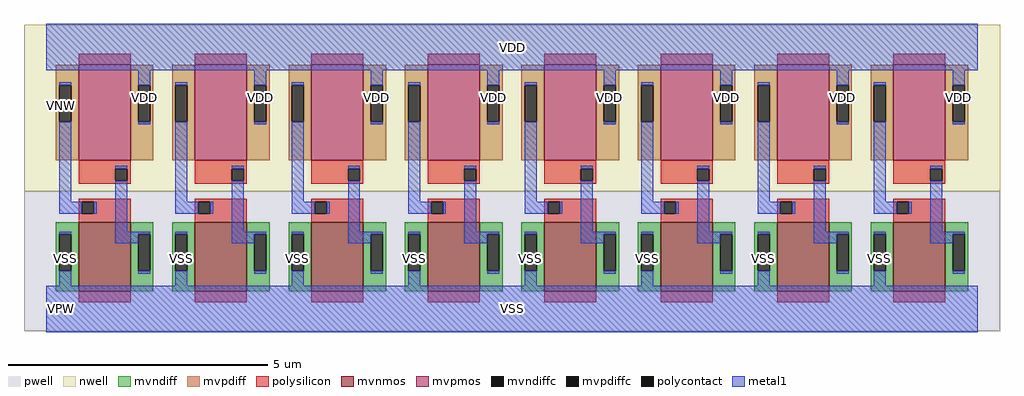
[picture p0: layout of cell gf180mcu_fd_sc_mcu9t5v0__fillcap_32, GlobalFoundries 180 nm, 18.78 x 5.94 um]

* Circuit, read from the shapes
.subckt gf180mcu_fd_sc_mcu9t5v0__fillcap_32 VDD VNW VPW VSS
XM1 n1 n2 VSS VPW nfet_06v0 w=1.32u l=1u
XM2 n3 n4 VSS VPW nfet_06v0 w=1.32u l=1u
XM3 n5 n6 VSS VPW nfet_06v0 w=1.32u l=1u
XM4 n7 n8 VSS VPW nfet_06v0 w=1.32u l=1u
XM5 n9 n10 VSS VPW nfet_06v0 w=1.32u l=1u
XM6 n11 n12 VSS VPW nfet_06v0 w=1.32u l=1u
XM7 n13 n14 VSS VPW nfet_06v0 w=1.32u l=1u
XM8 n15 n16 VSS VPW nfet_06v0 w=1.32u l=1u
XM9 VDD n1 n2 VNW pfet_06v0 w=1.83u l=1u
XM10 VDD n3 n4 VNW pfet_06v0 w=1.83u l=1u
XM11 VDD n5 n6 VNW pfet_06v0 w=1.83u l=1u
XM12 VDD n7 n8 VNW pfet_06v0 w=1.83u l=1u
XM13 VDD n9 n10 VNW pfet_06v0 w=1.83u l=1u
XM14 VDD n11 n12 VNW pfet_06v0 w=1.83u l=1u
XM15 VDD n13 n14 VNW pfet_06v0 w=1.83u l=1u
XM16 VDD n15 n16 VNW pfet_06v0 w=1.83u l=1u
.ends

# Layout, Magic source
magic
tech gf180mcuD
magscale 1 10
<< nwell >>
rect -86 453 3670 1094
<< pwell >>
rect -86 -86 3670 453
<< mvnmos >>
rect 124 69 324 333
rect 572 69 772 333
rect 1020 69 1220 333
rect 1468 69 1668 333
rect 1916 69 2116 333
rect 2364 69 2564 333
rect 2812 69 3012 333
rect 3260 69 3460 333
<< mvpmos >>
rect 124 573 324 939
rect 572 573 772 939
rect 1020 573 1220 939
rect 1468 573 1668 939
rect 1916 573 2116 939
rect 2364 573 2564 939
rect 2812 573 3012 939
rect 3260 573 3460 939
<< mvndiff >>
rect 36 287 124 333
rect 36 147 49 287
rect 95 147 124 287
rect 36 69 124 147
rect 324 287 412 333
rect 324 147 353 287
rect 399 147 412 287
rect 324 69 412 147
rect 484 287 572 333
rect 484 147 497 287
rect 543 147 572 287
rect 484 69 572 147
rect 772 287 860 333
rect 772 147 801 287
rect 847 147 860 287
rect 772 69 860 147
rect 932 287 1020 333
rect 932 147 945 287
rect 991 147 1020 287
rect 932 69 1020 147
rect 1220 287 1308 333
rect 1220 147 1249 287
rect 1295 147 1308 287
rect 1220 69 1308 147
rect 1380 287 1468 333
rect 1380 147 1393 287
rect 1439 147 1468 287
rect 1380 69 1468 147
rect 1668 287 1756 333
rect 1668 147 1697 287
rect 1743 147 1756 287
rect 1668 69 1756 147
rect 1828 287 1916 333
rect 1828 147 1841 287
rect 1887 147 1916 287
rect 1828 69 1916 147
rect 2116 287 2204 333
rect 2116 147 2145 287
rect 2191 147 2204 287
rect 2116 69 2204 147
rect 2276 287 2364 333
rect 2276 147 2289 287
rect 2335 147 2364 287
rect 2276 69 2364 147
rect 2564 287 2652 333
rect 2564 147 2593 287
rect 2639 147 2652 287
rect 2564 69 2652 147
rect 2724 287 2812 333
rect 2724 147 2737 287
rect 2783 147 2812 287
rect 2724 69 2812 147
rect 3012 287 3100 333
rect 3012 147 3041 287
rect 3087 147 3100 287
rect 3012 69 3100 147
rect 3172 287 3260 333
rect 3172 147 3185 287
rect 3231 147 3260 287
rect 3172 69 3260 147
rect 3460 287 3548 333
rect 3460 147 3489 287
rect 3535 147 3548 287
rect 3460 69 3548 147
<< mvpdiff >>
rect 36 861 124 939
rect 36 721 49 861
rect 95 721 124 861
rect 36 573 124 721
rect 324 861 412 939
rect 324 721 353 861
rect 399 721 412 861
rect 324 573 412 721
rect 484 861 572 939
rect 484 721 497 861
rect 543 721 572 861
rect 484 573 572 721
rect 772 861 860 939
rect 772 721 801 861
rect 847 721 860 861
rect 772 573 860 721
rect 932 861 1020 939
rect 932 721 945 861
rect 991 721 1020 861
rect 932 573 1020 721
rect 1220 861 1308 939
rect 1220 721 1249 861
rect 1295 721 1308 861
rect 1220 573 1308 721
rect 1380 861 1468 939
rect 1380 721 1393 861
rect 1439 721 1468 861
rect 1380 573 1468 721
rect 1668 861 1756 939
rect 1668 721 1697 861
rect 1743 721 1756 861
rect 1668 573 1756 721
rect 1828 861 1916 939
rect 1828 721 1841 861
rect 1887 721 1916 861
rect 1828 573 1916 721
rect 2116 861 2204 939
rect 2116 721 2145 861
rect 2191 721 2204 861
rect 2116 573 2204 721
rect 2276 861 2364 939
rect 2276 721 2289 861
rect 2335 721 2364 861
rect 2276 573 2364 721
rect 2564 861 2652 939
rect 2564 721 2593 861
rect 2639 721 2652 861
rect 2564 573 2652 721
rect 2724 861 2812 939
rect 2724 721 2737 861
rect 2783 721 2812 861
rect 2724 573 2812 721
rect 3012 861 3100 939
rect 3012 721 3041 861
rect 3087 721 3100 861
rect 3012 573 3100 721
rect 3172 861 3260 939
rect 3172 721 3185 861
rect 3231 721 3260 861
rect 3172 573 3260 721
rect 3460 861 3548 939
rect 3460 721 3489 861
rect 3535 721 3548 861
rect 3460 573 3548 721
<< mvndiffc >>
rect 49 147 95 287
rect 353 147 399 287
rect 497 147 543 287
rect 801 147 847 287
rect 945 147 991 287
rect 1249 147 1295 287
rect 1393 147 1439 287
rect 1697 147 1743 287
rect 1841 147 1887 287
rect 2145 147 2191 287
rect 2289 147 2335 287
rect 2593 147 2639 287
rect 2737 147 2783 287
rect 3041 147 3087 287
rect 3185 147 3231 287
rect 3489 147 3535 287
<< mvpdiffc >>
rect 49 721 95 861
rect 353 721 399 861
rect 497 721 543 861
rect 801 721 847 861
rect 945 721 991 861
rect 1249 721 1295 861
rect 1393 721 1439 861
rect 1697 721 1743 861
rect 1841 721 1887 861
rect 2145 721 2191 861
rect 2289 721 2335 861
rect 2593 721 2639 861
rect 2737 721 2783 861
rect 3041 721 3087 861
rect 3185 721 3231 861
rect 3489 721 3535 861
<< polysilicon >>
rect 124 939 324 983
rect 572 939 772 983
rect 1020 939 1220 983
rect 1468 939 1668 983
rect 1916 939 2116 983
rect 2364 939 2564 983
rect 2812 939 3012 983
rect 3260 939 3460 983
rect 124 540 324 573
rect 124 494 265 540
rect 311 494 324 540
rect 124 481 324 494
rect 572 540 772 573
rect 572 494 713 540
rect 759 494 772 540
rect 572 481 772 494
rect 1020 540 1220 573
rect 1020 494 1161 540
rect 1207 494 1220 540
rect 1020 481 1220 494
rect 1468 540 1668 573
rect 1468 494 1609 540
rect 1655 494 1668 540
rect 1468 481 1668 494
rect 1916 540 2116 573
rect 1916 494 2057 540
rect 2103 494 2116 540
rect 1916 481 2116 494
rect 2364 540 2564 573
rect 2364 494 2505 540
rect 2551 494 2564 540
rect 2364 481 2564 494
rect 2812 540 3012 573
rect 2812 494 2953 540
rect 2999 494 3012 540
rect 2812 481 3012 494
rect 3260 540 3460 573
rect 3260 494 3401 540
rect 3447 494 3460 540
rect 3260 481 3460 494
rect 124 412 324 425
rect 124 366 137 412
rect 183 366 324 412
rect 124 333 324 366
rect 572 412 772 425
rect 572 366 585 412
rect 631 366 772 412
rect 572 333 772 366
rect 1020 412 1220 425
rect 1020 366 1033 412
rect 1079 366 1220 412
rect 1020 333 1220 366
rect 1468 412 1668 425
rect 1468 366 1481 412
rect 1527 366 1668 412
rect 1468 333 1668 366
rect 1916 412 2116 425
rect 1916 366 1929 412
rect 1975 366 2116 412
rect 1916 333 2116 366
rect 2364 412 2564 425
rect 2364 366 2377 412
rect 2423 366 2564 412
rect 2364 333 2564 366
rect 2812 412 3012 425
rect 2812 366 2825 412
rect 2871 366 3012 412
rect 2812 333 3012 366
rect 3260 412 3460 425
rect 3260 366 3273 412
rect 3319 366 3460 412
rect 3260 333 3460 366
rect 124 25 324 69
rect 572 25 772 69
rect 1020 25 1220 69
rect 1468 25 1668 69
rect 1916 25 2116 69
rect 2364 25 2564 69
rect 2812 25 3012 69
rect 3260 25 3460 69
<< polycontact >>
rect 265 494 311 540
rect 713 494 759 540
rect 1161 494 1207 540
rect 1609 494 1655 540
rect 2057 494 2103 540
rect 2505 494 2551 540
rect 2953 494 2999 540
rect 3401 494 3447 540
rect 137 366 183 412
rect 585 366 631 412
rect 1033 366 1079 412
rect 1481 366 1527 412
rect 1929 366 1975 412
rect 2377 366 2423 412
rect 2825 366 2871 412
rect 3273 366 3319 412
<< metal1 >>
rect 0 918 3584 1098
rect 49 861 95 872
rect 49 412 95 721
rect 353 861 399 918
rect 353 710 399 721
rect 497 861 543 872
rect 265 540 311 551
rect 49 366 137 412
rect 183 366 194 412
rect 265 298 311 494
rect 497 412 543 721
rect 801 861 847 918
rect 801 710 847 721
rect 945 861 991 872
rect 713 540 759 551
rect 497 366 585 412
rect 631 366 642 412
rect 713 298 759 494
rect 945 412 991 721
rect 1249 861 1295 918
rect 1249 710 1295 721
rect 1393 861 1439 872
rect 1161 540 1207 551
rect 945 366 1033 412
rect 1079 366 1090 412
rect 1161 298 1207 494
rect 1393 412 1439 721
rect 1697 861 1743 918
rect 1697 710 1743 721
rect 1841 861 1887 872
rect 1609 540 1655 551
rect 1393 366 1481 412
rect 1527 366 1538 412
rect 1609 298 1655 494
rect 1841 412 1887 721
rect 2145 861 2191 918
rect 2145 710 2191 721
rect 2289 861 2335 872
rect 2057 540 2103 551
rect 1841 366 1929 412
rect 1975 366 1986 412
rect 2057 298 2103 494
rect 2289 412 2335 721
rect 2593 861 2639 918
rect 2593 710 2639 721
rect 2737 861 2783 872
rect 2505 540 2551 551
rect 2289 366 2377 412
rect 2423 366 2434 412
rect 2505 298 2551 494
rect 2737 412 2783 721
rect 3041 861 3087 918
rect 3041 710 3087 721
rect 3185 861 3231 872
rect 2953 540 2999 551
rect 2737 366 2825 412
rect 2871 366 2882 412
rect 2953 298 2999 494
rect 3185 412 3231 721
rect 3489 861 3535 918
rect 3489 710 3535 721
rect 3401 540 3447 551
rect 3185 366 3273 412
rect 3319 366 3330 412
rect 3401 298 3447 494
rect 49 287 95 298
rect 265 287 399 298
rect 265 252 353 287
rect 49 90 95 147
rect 353 136 399 147
rect 497 287 543 298
rect 713 287 847 298
rect 713 252 801 287
rect 497 90 543 147
rect 801 136 847 147
rect 945 287 991 298
rect 1161 287 1295 298
rect 1161 252 1249 287
rect 945 90 991 147
rect 1249 136 1295 147
rect 1393 287 1439 298
rect 1609 287 1743 298
rect 1609 252 1697 287
rect 1393 90 1439 147
rect 1697 136 1743 147
rect 1841 287 1887 298
rect 2057 287 2191 298
rect 2057 252 2145 287
rect 1841 90 1887 147
rect 2145 136 2191 147
rect 2289 287 2335 298
rect 2505 287 2639 298
rect 2505 252 2593 287
rect 2289 90 2335 147
rect 2593 136 2639 147
rect 2737 287 2783 298
rect 2953 287 3087 298
rect 2953 252 3041 287
rect 2737 90 2783 147
rect 3041 136 3087 147
rect 3185 287 3231 298
rect 3401 287 3535 298
rect 3401 252 3489 287
rect 3185 90 3231 147
rect 3489 136 3535 147
rect 0 -90 3584 90
<< labels >>
flabel metal1 s 0 918 3584 1098 0 FreeSans 200 0 0 0 VDD
port 1 nsew power bidirectional abutment
flabel metal1 s 3185 90 3231 298 0 FreeSans 200 0 0 0 VSS
port 4 nsew ground bidirectional abutment
flabel nwell s 10 734 110 834 0 FreeSans 400 0 0 0 VNW
port 2 nsew power bidirectional
flabel pwell s 10 -50 110 50 0 FreeSans 400 0 0 0 VPW
port 3 nsew ground bidirectional
rlabel metal1 s 3489 710 3535 918 1 VDD
port 1 nsew power bidirectional abutment
rlabel metal1 s 3041 710 3087 918 1 VDD
port 1 nsew power bidirectional abutment
rlabel metal1 s 2593 710 2639 918 1 VDD
port 1 nsew power bidirectional abutment
rlabel metal1 s 2145 710 2191 918 1 VDD
port 1 nsew power bidirectional abutment
rlabel metal1 s 1697 710 1743 918 1 VDD
port 1 nsew power bidirectional abutment
rlabel metal1 s 1249 710 1295 918 1 VDD
port 1 nsew power bidirectional abutment
rlabel metal1 s 801 710 847 918 1 VDD
port 1 nsew power bidirectional abutment
rlabel metal1 s 353 710 399 918 1 VDD
port 1 nsew power bidirectional abutment
rlabel metal1 s 2737 90 2783 298 1 VSS
port 4 nsew ground bidirectional abutment
rlabel metal1 s 2289 90 2335 298 1 VSS
port 4 nsew ground bidirectional abutment
rlabel metal1 s 1841 90 1887 298 1 VSS
port 4 nsew ground bidirectional abutment
rlabel metal1 s 1393 90 1439 298 1 VSS
port 4 nsew ground bidirectional abutment
rlabel metal1 s 945 90 991 298 1 VSS
port 4 nsew ground bidirectional abutment
rlabel metal1 s 497 90 543 298 1 VSS
port 4 nsew ground bidirectional abutment
rlabel metal1 s 49 90 95 298 1 VSS
port 4 nsew ground bidirectional abutment
rlabel metal1 s 0 -90 3584 90 1 VSS
port 4 nsew ground bidirectional abutment
<< properties >>
string FIXED_BBOX 0 0 3584 1008
string GDS_END 795478
string GDS_FILE $PDKPATH/libs.ref/gf180mcu_fd_sc_mcu9t5v0/gds/gf180mcu_fd_sc_mcu9t5v0.gds
string GDS_START 785228
string LEFclass core SPACER
string LEFsite GF018hv5v_green_sc9
string LEFsymmetry X Y
<< end >>
